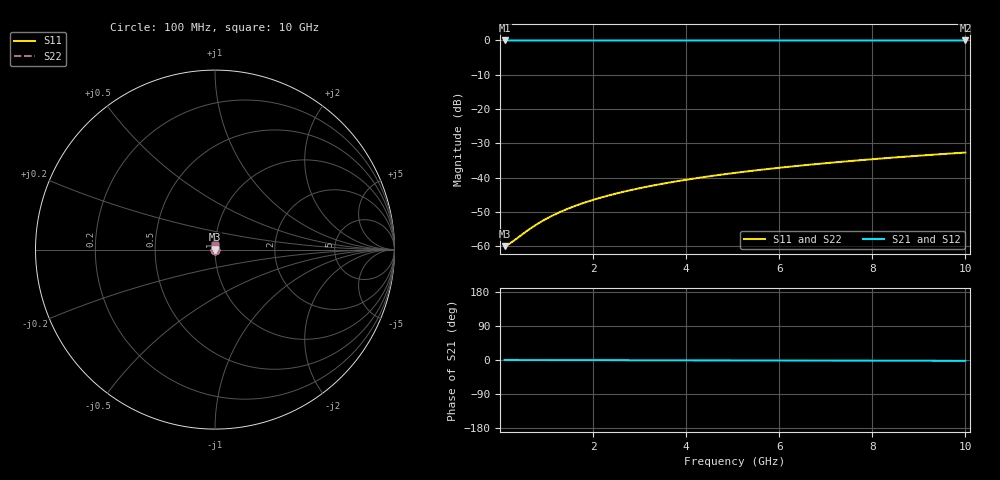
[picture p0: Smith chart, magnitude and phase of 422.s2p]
# Hz S RI R 50.00
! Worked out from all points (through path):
!   100 points, 100 MHz to 10 GHz, reference 50 ohm
!   highest |S21| = -0.01 dB at 100 MHz (marker M1); lowest = 0.0 dB at 10 GHz (marker M2)
!   lowest |S11| = -60.0 dB at 100 MHz (marker M3), VSWR 1.00, Z = 50.1 + j0.023 ohm
!   |S11| at or under -10 dB: start of sweep to end of sweep
!   |S22| runs from -60.0 to -32.7 dB; largest |S21 - S12| = 0
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1e8  0.000971 0.00023  0.999 -0.000381  0.999 -0.000381  0.000971 0.00023
2e8  0.000977 0.00046  0.999 -0.000762  0.999 -0.000762  0.000977 0.00046
3e8  0.000983 0.00069  0.999 -0.00114  0.999 -0.00114  0.000983 0.00069
5e8  0.000991 0.00115  0.999 -0.00191  0.999 -0.00191  0.000991 0.00115
7e8  0.000998 0.00161  0.999 -0.00267  0.999 -0.00267  0.000998 0.00161
8e8  0.001 0.00184  0.999 -0.00305  0.999 -0.00305  0.001 0.00184
1e9  0.00101 0.0023  0.999 -0.00381  0.999 -0.00381  0.00101 0.0023
1.2e9  0.00102 0.00276  0.999 -0.00457  0.999 -0.00457  0.00102 0.00276
1.4e9  0.00102 0.00322  0.999 -0.00534  0.999 -0.00534  0.00102 0.00322
1.6e9  0.00103 0.00368  0.999 -0.0061  0.999 -0.0061  0.00103 0.00368
1.8e9  0.00104 0.00414  0.999 -0.00686  0.999 -0.00686  0.00104 0.00414
2.1e9  0.00106 0.00483  0.9989 -0.008  0.9989 -0.008  0.00106 0.00483
2.5e9  0.00108 0.00575  0.9989 -0.00953  0.9989 -0.00953  0.00108 0.00575
2.9e9  0.0011 0.00667  0.9989 -0.0111  0.9989 -0.0111  0.0011 0.00667
3.4e9  0.00113 0.00782  0.9988 -0.013  0.9988 -0.013  0.00113 0.00782
4.2e9  0.00119 0.00966  0.9988 -0.016  0.9988 -0.016  0.00119 0.00966
5.1e9  0.00127 0.0117  0.9987 -0.0195  0.9987 -0.0195  0.00127 0.0117
5.9e9  0.00136 0.0136  0.9986 -0.0225  0.9986 -0.0225  0.00136 0.0136
6.7e9  0.00145 0.0154  0.9985 -0.0256  0.9985 -0.0256  0.00145 0.0154
7.5e9  0.00156 0.0173  0.9984 -0.0286  0.9984 -0.0286  0.00156 0.0173
8.4e9  0.00169 0.0194  0.9982 -0.0321  0.9982 -0.0321  0.00169 0.0194
1e10  0.00197 0.0231  0.9979 -0.0383  0.9979 -0.0383  0.00197 0.0231
